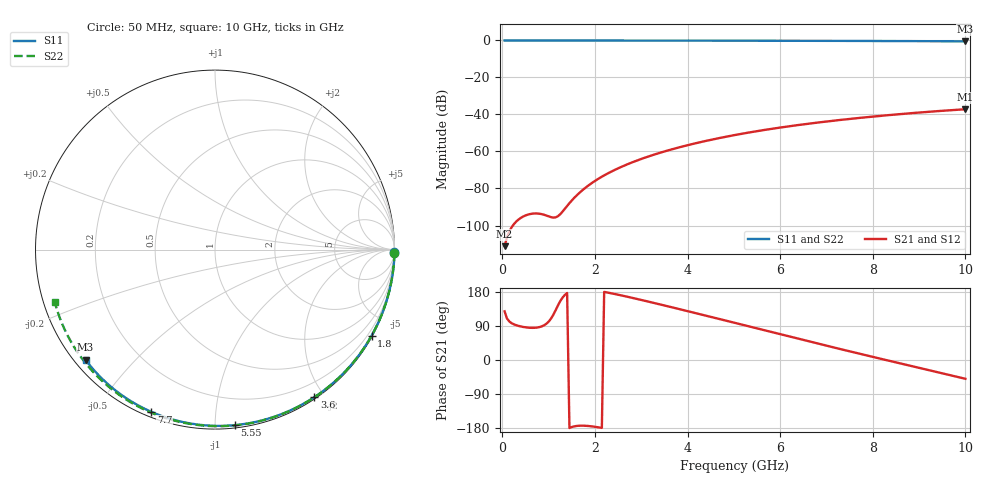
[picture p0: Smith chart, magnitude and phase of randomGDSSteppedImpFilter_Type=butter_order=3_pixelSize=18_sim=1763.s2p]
! freq	dB(S11)	phase(S11)	dB(S12)	phase(S12)
!  dB(S21)	phase(S21)	dB(S22)	phase(S22)
!S-par simulation data
#  GHz  S  DB  R 50
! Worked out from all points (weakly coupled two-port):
!   200 points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, 50 MHz to 10 GHz, reference 50 ohm
!   highest |S21| = -37.18 dB at 10 GHz (marker M1); lowest = -111.2 dB at 50 MHz (marker M2)
!   lowest |S11| = -0.5 dB at 10 GHz (marker M3), VSWR 36.84, Z = 1.54 - j18.4 ohm
!   |S11| at or under -10 dB: nowhere
!   |S22| runs from -0.5 to 0.0 dB; largest |S21 - S12| = 0
!   S11 on the Smith chart (normalised r, x): 50 MHz: open; 1.8 GHz: 0.03, -3.90; 3.6 GHz: 0.02, -1.88; 5.55 GHz: 0.02, -1.12; 7.7 GHz: 0.02, -0.68; 10 GHz: 0.03, -0.37
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0.05  -0.00 -0.8  -111.17 128.5  -111.17 128.5  -0.00 -0.9
0.45  -0.01 -7.3  -95.16 87.2  -95.16 87.2  -0.01 -8.4
0.9  -0.02 -14.5  -94.17 91.4  -94.17 91.4  -0.02 -16.8
1.3  -0.03 -20.9  -92.51 164.5  -92.51 164.5  -0.03 -24.1
1.75  -0.04 -28.0  -80.50 -173.3  -80.50 -173.3  -0.04 -32.3
1.8  -0.04 -28.7  -79.50 -173.6  -79.50 -173.6  -0.04 -33.2
1.95  -0.04 -31.1  -76.76 -175.4  -76.76 -175.4  -0.05 -35.9
2.1  -0.04 -33.4  -74.36 -178.1  -74.36 -178.1  -0.05 -38.6
2.45  -0.05 -38.8  -69.70 173.6  -69.70 173.6  -0.06 -44.8
2.65  -0.05 -41.9  -67.45 168.3  -67.45 168.3  -0.06 -48.3
2.9  -0.06 -45.7  -64.96 161.4  -64.96 161.4  -0.07 -52.6
3.4  -0.07 -53.1  -60.74 146.9  -60.74 146.9  -0.08 -61.2
3.6  -0.08 -56.1  -59.27 141.0  -59.27 141.0  -0.09 -64.5
4.3  -0.09 -66.2  -54.83 119.9  -54.83 119.9  -0.11 -76.1
5.05  -0.12 -76.7  -50.98 97.1  -50.98 97.1  -0.14 -88.1
5.55  -0.14 -83.6  -48.81 81.7  -48.81 81.7  -0.16 -95.8
6.1  -0.16 -90.9  -46.71 64.9  -46.71 64.9  -0.19 -104.2
6.7  -0.19 -98.8  -44.71 46.7  -44.71 46.7  -0.22 -113.2
7.7  -0.25 -111.4  -41.89 17.0  -41.89 17.0  -0.30 -127.9
8.35  -0.31 -119.5  -40.33 -1.9  -40.33 -1.9  -0.35 -137.4
9.2  -0.38 -129.9  -38.56 -26.5  -38.56 -26.5  -0.44 -149.9
10  -0.47 -139.6  -37.18 -49.6  -37.18 -49.6  -0.54 -161.8
